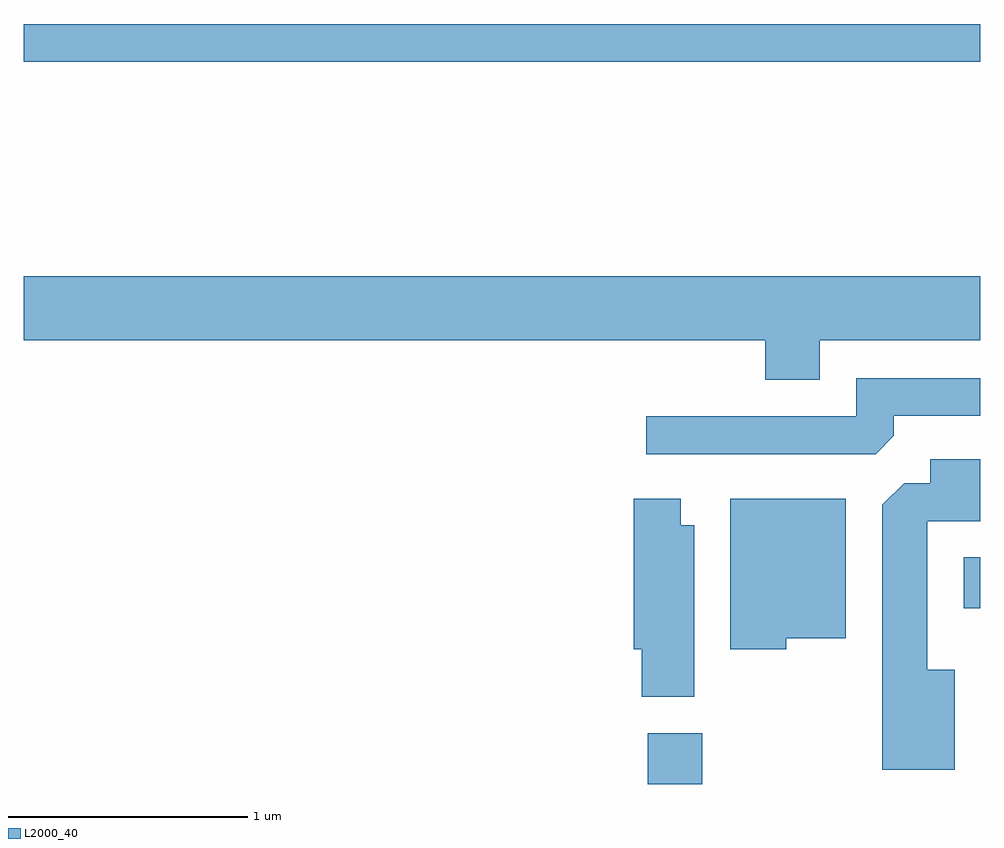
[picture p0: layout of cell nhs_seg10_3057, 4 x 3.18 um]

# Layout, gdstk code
import gdstk
lib = gdstk.Library(unit=1e-6, precision=1e-09)
def R(c, l, rs):  # rectangles x0, y0, x1, y1
    for r in rs: c.add(gdstk.rectangle(r[:2], r[2:], *l))
def P(c, l, *ps):  # polygons
    for p in ps: c.add(gdstk.Polygon(p, *l))
L2000_40 = (2000, 40)

nhs_seg10_3057 = lib.new_cell('nhs_seg10_3057')
R(nhs_seg10_3057, L2000_40, [(278.221,2096.522,278.449,2096.734), (279.541,2097.256,279.611,2097.469), (275.611,2099.541,279.611,2099.699)])
P(nhs_seg10_3057, L2000_40, [(278.939,2098.376),(279.611,2098.376),(279.611,2098.644),(275.611,2098.644),(275.611,2098.376),(278.711,2098.376),(278.711,2098.211),(278.939,2098.211)],
  [(279.249,2097.977),(279.249,2098.061),(279.611,2098.061),(279.611,2098.219),(279.091,2098.219),(279.091,2098.059),(278.213,2098.059),(278.213,2097.901),(279.174,2097.901)],
  [(279.504,2096.999),(279.389,2096.999),(279.389,2097.621),(279.611,2097.621),(279.611,2097.879),(279.401,2097.879),(279.401,2097.779),(279.292,2097.779),(279.201,2097.689),(279.201,2096.581),(279.504,2096.581)],
  [(278.414,2097.604),(278.359,2097.604),(278.359,2097.714),(278.161,2097.714),(278.161,2097.086),(278.196,2097.086),(278.196,2096.886),(278.414,2096.886)],
  [(278.799,2097.131),(279.049,2097.131),(279.049,2097.714),(278.566,2097.714),(278.566,2097.086),(278.799,2097.086)])

lib.write_gds('nhs_seg10_3057.gds')
